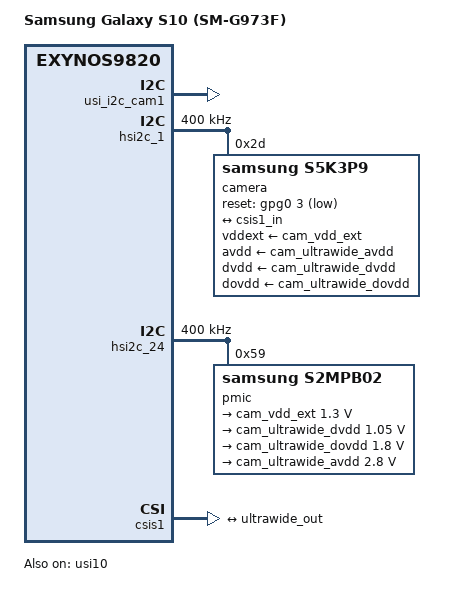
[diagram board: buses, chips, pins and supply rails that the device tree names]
// SPDX-License-Identifier: GPL-2.0
/*
 * Samsung Galaxy S10 (SM-G973F, beyond1lte) device tree.
 *
 * The S10 is the S10+ board (beyond2lte) with a smaller cell: same Exynos 9820,
 * same 8 GiB memory map, same S6E3HA9 panel at 1440x3040 (the vendor tree has
 * identical s6e3ha9_beyond1/beyond2 timings) fed by the same S2DOS05, same
 * MAX77705.  So this file takes the S10+ tree and changes what differs.
 *
 * The touchscreen is the S10+ one as well: the stock dtbo of the S10 names
 * tsp_sec/y771_beyond1_phole.bin, i.e. a S6SY771 like on the S10+.
 */

#include "exynos9820-beyond2lte.dts"
#include "exynos9820-camera.dtsi"

/ {
	model = "Samsung Galaxy S10 (SM-G973F)";
	compatible = "samsung,beyond1lte", "samsung,exynos9820";

	sound {
		model = "Samsung Galaxy S10";
	};
};

/*
 * EB-BG973ABU, 3400 mAh.  Charge current kept below the S10+ value until the
 * vendor battery,max_charging_current of the S10 is read.
 */
&battery {
	charge-full-design-microamp-hours = <3400000>;
	constant-charge-current-max-microamp = <2100000>;
};

/*
 * While the panel runs on the S-Boot framebuffer (simpledrm, no DSI/panel
 * driver), nothing claims its three rails and the regulator core switches them
 * off 30 s after boot ("panel_vdd3: disabling"): the panel goes dark and needs
 * its init sequence again.  Keep them on until the panel driver owns them.
 */
&panel_vddr {
	regulator-always-on;
};

&panel_vdd3 {
	regulator-always-on;
};

&panel_vci {
	regulator-always-on;
};

/*
 * Cameras, step 2 of CAMERA.md: the rear ultrawide only. Every value below
 * was checked against all revisions of this phone's stock dtbo (bus hsi2c_1
 * at 0x2d, MCLK channel 3 on gpc1-7, reset gpg0-3, S2MPB02 at 0x59 on
 * hsi2c_24, and the four rails with their voltages); they are the S10e's.
 * Of the S2MPB02 only these four rails are described, so the others keep
 * what S-Boot set.
 */
&usi_i2c_cam1 {
	samsung,mode = <USI_MODE_I2C>;
	status = "okay";
};

&hsi2c_1 {
	clock-frequency = <400000>;
	pinctrl-names = "default";
	pinctrl-0 = <&hsi2c1_bus>;
	status = "okay";

	camera@2d {
		compatible = "samsung,s5k3p9";
		reg = <0x2d>;
		pinctrl-names = "default";
		pinctrl-0 = <&cam_mclk3>;
		clocks = <&cmu_top CLK_DOUT_CMU_CIS_CLK3>;
		reset-gpios = <&gpg0 3 GPIO_ACTIVE_LOW>;
		vddext-supply = <&cam_vdd_ext>;
		avdd-supply = <&cam_ultrawide_avdd>;
		dvdd-supply = <&cam_ultrawide_dvdd>;
		dovdd-supply = <&cam_ultrawide_dovdd>;
		orientation = <1>;

		port {
			ultrawide_out: endpoint {
				remote-endpoint = <&csis1_in>;
				data-lanes = <1 2 3 4>;
				link-frequencies = /bits/ 64 <1027000000>;
			};
		};
	};
};

&usi10 {
	samsung,mode = <USI_MODE_I2C>;
	status = "okay";
};

&hsi2c_24 {
	clock-frequency = <400000>;
	pinctrl-names = "default";
	pinctrl-0 = <&hsi2c24_bus>;
	status = "okay";

	pmic@59 {
		compatible = "samsung,s2mpb02";
		reg = <0x59>;

		regulators {
			cam_vdd_ext: buck2 {
				regulator-name = "VDD_EXT_1P3_PB02";
				regulator-min-microvolt = <1300000>;
				regulator-max-microvolt = <1300000>;
			};

			cam_ultrawide_dvdd: ldo4 {
				regulator-name = "VDDD_1.05V_WIDESUB";
				regulator-min-microvolt = <1050000>;
				regulator-max-microvolt = <1050000>;
			};

			cam_ultrawide_dovdd: ldo8 {
				regulator-name = "VDDIO_1.8V_WIDESUB";
				regulator-min-microvolt = <1800000>;
				regulator-max-microvolt = <1800000>;
			};

			cam_ultrawide_avdd: ldo15 {
				regulator-name = "VDDA_2.8V_WIDESUB";
				regulator-min-microvolt = <2800000>;
				regulator-max-microvolt = <2800000>;
			};
		};
	};
};

&csis1 {
	status = "okay";

	port {
		csis1_in: endpoint {
			remote-endpoint = <&ultrawide_out>;
			data-lanes = <1 2 3 4>;
		};
	};
};
